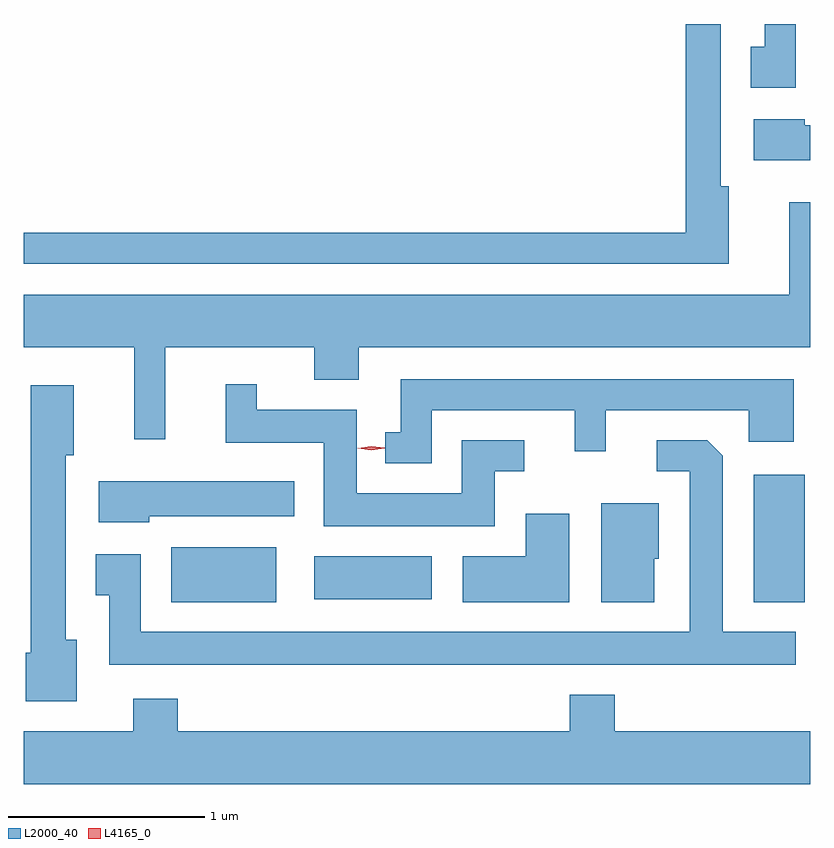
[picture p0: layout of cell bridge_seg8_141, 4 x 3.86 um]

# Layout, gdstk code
import gdstk
lib = gdstk.Library(unit=1e-6, precision=1e-09)
def R(c, l, rs):  # rectangles x0, y0, x1, y1
    for r in rs: c.add(gdstk.rectangle(r[:2], r[2:], *l))
def P(c, l, *ps):  # polygons
    for p in ps: c.add(gdstk.Polygon(p, *l))
L2000_40 = (2000, 40)
L4165_0 = (4165, 0)

bridge_seg8_141 = lib.new_cell('bridge_seg8_141')
R(bridge_seg8_141, L2000_40, [(1664.186,1810.701,1664.719,1810.979), (1667.146,1810.701,1667.404,1811.349), (1664.911,1810.716,1665.509,1810.934)])
P(bridge_seg8_141, L2000_40, [(1667.359,1813.639),(1667.201,1813.639),(1667.201,1813.524),(1667.131,1813.524),(1667.131,1813.316),(1667.359,1813.316)],
  [(1667.019,1812.814),(1666.979,1812.814),(1666.979,1813.639),(1666.801,1813.639),(1666.801,1812.579),(1663.434,1812.579),(1663.434,1812.421),(1667.019,1812.421)],
  [(1667.434,1813.124),(1667.404,1813.124),(1667.404,1813.154),(1667.146,1813.154),(1667.146,1812.946),(1667.434,1812.946)],
  [(1664.154,1811.996),(1664.911,1811.996),(1664.911,1811.831),(1665.139,1811.831),(1665.139,1811.996),(1667.434,1811.996),(1667.434,1812.733),(1667.326,1812.733),(1667.326,1812.264),(1663.434,1812.264),(1663.434,1811.996),(1663.996,1811.996),(1663.996,1811.528),(1664.154,1811.528)],
  [(1665.509,1811.676),(1666.236,1811.676),(1666.236,1811.468),(1666.394,1811.468),(1666.394,1811.676),(1667.121,1811.676),(1667.121,1811.516),(1667.349,1811.516),(1667.349,1811.834),(1665.351,1811.834),(1665.351,1811.564),(1665.273,1811.564),(1665.273,1811.406),(1665.509,1811.406)],
  [(1665.829,1811.366),(1665.978,1811.366),(1665.978,1811.524),(1665.661,1811.524),(1665.661,1811.254),(1665.129,1811.254),(1665.129,1811.679),(1664.619,1811.679),(1664.619,1811.808),(1664.461,1811.808),(1664.461,1811.511),(1664.961,1811.511),(1664.961,1811.086),(1665.829,1811.086)],
  [(1663.704,1810.509),(1663.649,1810.509),(1663.649,1811.446),(1663.689,1811.446),(1663.689,1811.804),(1663.471,1811.804),(1663.471,1810.444),(1663.446,1810.444),(1663.446,1810.196),(1663.704,1810.196)],
  [(1667.358,1810.549),(1666.989,1810.549),(1666.989,1811.444),(1666.909,1811.524),(1666.653,1811.524),(1666.653,1811.366),(1666.821,1811.366),(1666.821,1810.549),(1664.029,1810.549),(1664.029,1810.944),(1663.801,1810.944),(1663.801,1810.736),(1663.871,1810.736),(1663.871,1810.381),(1667.358,1810.381)],
  [(1664.074,1811.136),(1664.809,1811.136),(1664.809,1811.314),(1663.816,1811.314),(1663.816,1811.106),(1664.074,1811.106)],
  [(1666.639,1810.921),(1666.664,1810.921),(1666.664,1811.204),(1666.371,1811.204),(1666.371,1810.701),(1666.639,1810.701)],
  [(1666.209,1811.149),(1665.986,1811.149),(1665.986,1810.934),(1665.666,1810.934),(1665.666,1810.701),(1666.209,1810.701)],
  [(1667.434,1810.044),(1666.439,1810.044),(1666.439,1810.229),(1666.211,1810.229),(1666.211,1810.044),(1664.219,1810.044),(1664.219,1810.209),(1663.991,1810.209),(1663.991,1810.044),(1663.434,1810.044),(1663.434,1809.776),(1667.434,1809.776)])
P(bridge_seg8_141, L4165_0, [(1665.202,1811.473),(1665.132,1811.482),(1665.132,1811.483),(1665.132,1811.483),(1665.202,1811.493),(1665.271,1811.484),(1665.271,1811.483),(1665.271,1811.483)])

lib.write_gds('bridge_seg8_141.gds')
